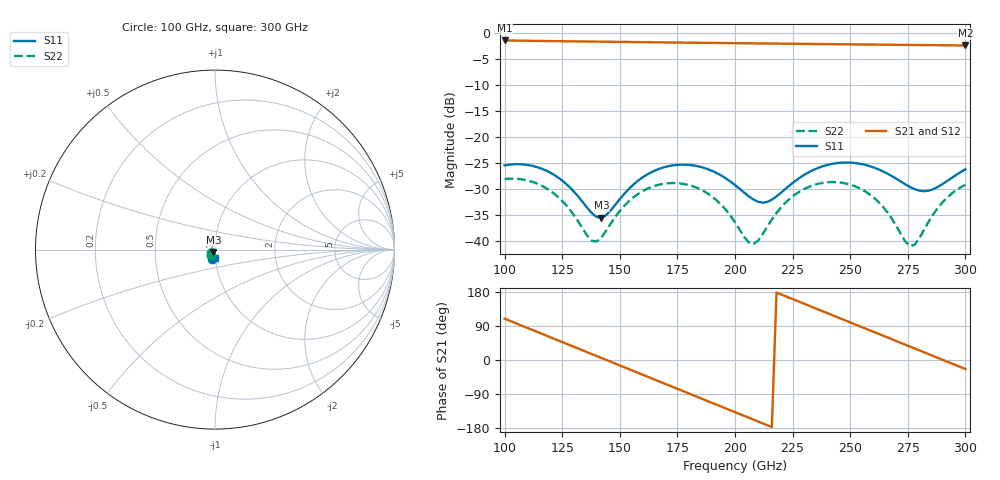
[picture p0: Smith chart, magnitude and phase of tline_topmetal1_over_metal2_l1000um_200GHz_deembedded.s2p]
! Created with skrf 2.0.1 (http://scikit-rf.org).
# GHz S DB R 50.0
!freq dBS11 angS11 dBS21 angS21 dBS12 angS12 dBS22 angS22
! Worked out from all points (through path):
!   101 points, 100 GHz to 300 GHz, reference 50 ohm
!   highest |S21| = -1.51 dB at 100 GHz (marker M1); lowest = -2.5 dB at 300 GHz (marker M2)
!   group delay of S21, straight-line fit = 6.84 ps
!   lowest |S11| = -35.6 dB at 142 GHz (marker M3), VSWR 1.03, Z = 49.1 - j1.41 ohm
!   |S11| at or under -10 dB: start of sweep to end of sweep
!   |S22| runs from -41.0 to -28.0 dB; largest |S21 - S12| = 1.4e-13
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100  -25.52 -109.7  -1.51 109.1  -1.51 109.1  -28.14 -128.1
116  -26.13 -140.1  -1.60 69.6  -1.60 69.6  -29.39 -163.1
126  -28.78 -153.9  -1.66 44.9  -1.66 44.9  -32.79 -179.1
134  -32.61 -153.0  -1.70 25.2  -1.70 25.2  -37.74 -175.1
138  -34.74 -141.7  -1.72 15.3  -1.72 15.3  -40.01 -155.4
142  -35.56 -120.8  -1.74 5.4  -1.74 5.4  -39.36 -128.9
154  -30.00 -91.9  -1.80 -24.2  -1.80 -24.2  -32.37 -116.4
168  -26.03 -106.9  -1.87 -58.8  -1.87 -58.8  -29.12 -140.5
184  -25.69 -131.1  -1.95 -98.2  -1.95 -98.2  -29.91 -172.3
200  -29.28 -144.5  -2.03 -137.6  -2.03 -137.6  -36.45 172.2
208  -32.07 -133.3  -2.06 -157.3  -2.06 -157.3  -40.62 -150.9
214  -32.52 -113.3  -2.09 -172.1  -2.09 -172.1  -37.28 -121.4
220  -30.74 -98.4  -2.12 173.1  -2.12 173.1  -33.58 -119.0
234  -26.38 -99.3  -2.18 138.6  -2.18 138.6  -29.30 -140.0
244  -25.08 -110.7  -2.23 114.0  -2.23 114.0  -28.72 -159.9
252  -25.05 -120.6  -2.27 94.3  -2.27 94.3  -29.50 -175.7
260  -25.87 -129.0  -2.30 74.7  -2.30 74.7  -31.61 170.6
268  -27.54 -132.7  -2.34 55.0  -2.34 55.0  -35.69 165.1
274  -29.15 -129.3  -2.36 40.2  -2.36 40.2  -40.17 -177.2
278  -30.07 -122.6  -2.38 30.4  -2.38 30.4  -40.74 -145.4
290  -29.11 -95.3  -2.43 0.8  -2.43 0.8  -32.63 -121.6
300  -26.26 -91.1  -2.47 -23.8  -2.47 -23.8  -29.23 -137.7
